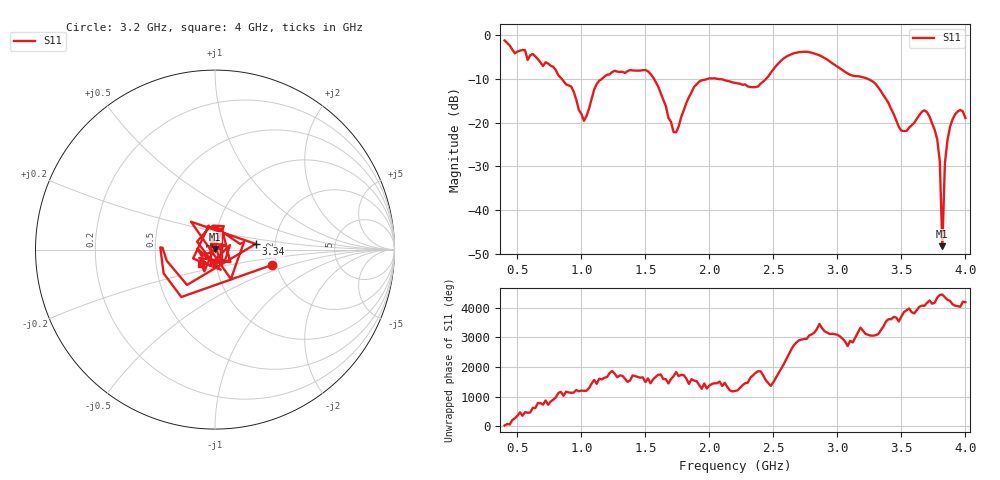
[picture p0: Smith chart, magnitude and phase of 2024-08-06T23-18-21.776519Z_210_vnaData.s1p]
!Created with skrf (http://scikit-rf.org).
# Hz S RI R 50.0
!freq ReS11 ImS11
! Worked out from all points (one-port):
!   181 points, 400 MHz to 4 GHz, reference 50 ohm
!   lowest |S11| = -48.3 dB at 3.82 GHz (marker M1), VSWR 1.01, Z = 49.8 + j0.312 ohm
!   |S11| at or under -10 dB: 1.567 GHz to 1.986 GHz (419.2 MHz wide, 23.6 % of centre); 2.066 GHz to 2.442 GHz (376.3 MHz wide, 16.7 % of centre); 3.238 GHz to end of sweep (the widest 3 of 4)
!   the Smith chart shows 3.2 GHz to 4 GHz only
!   S11 on the Smith chart (normalised r, x): 3.2 GHz: 1.89, -0.36; 3.34 GHz: 1.58, +0.11; 4 GHz: 0.85, -0.14
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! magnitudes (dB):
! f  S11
! 400 MHz  -1.2
! 860 MHz  -10.5
! 920 MHz  -11.7
! 1.02 GHz  -19.6
! 1.12 GHz  -11.1
! 1.3 GHz  -8.4
! 1.52 GHz  -8.3
! 1.6 GHz  -11.7
! 1.72 GHz  -22.2
! 1.76 GHz  -20.9
! 1.92 GHz  -10.6
! 2.2 GHz  -10.9
! 2.38 GHz  -11.7
! 2.66 GHz  -4.1
! 2.86 GHz  -4.6
! 3.1 GHz  -9.1
! 3.2 GHz  -9.6
! 3.34 GHz  -12.8
! 3.5 GHz  -21.8
! 3.56 GHz  -21.2
! 3.68 GHz  -17.2
! 3.76 GHz  -21.7
! 3.8 GHz  -28.9
! 3.82 GHz  -48.3
! 3.84 GHz  -29.3
! 3.86 GHz  -24.0
! 3.92 GHz  -18.1
! 4 GHz  -18.9
